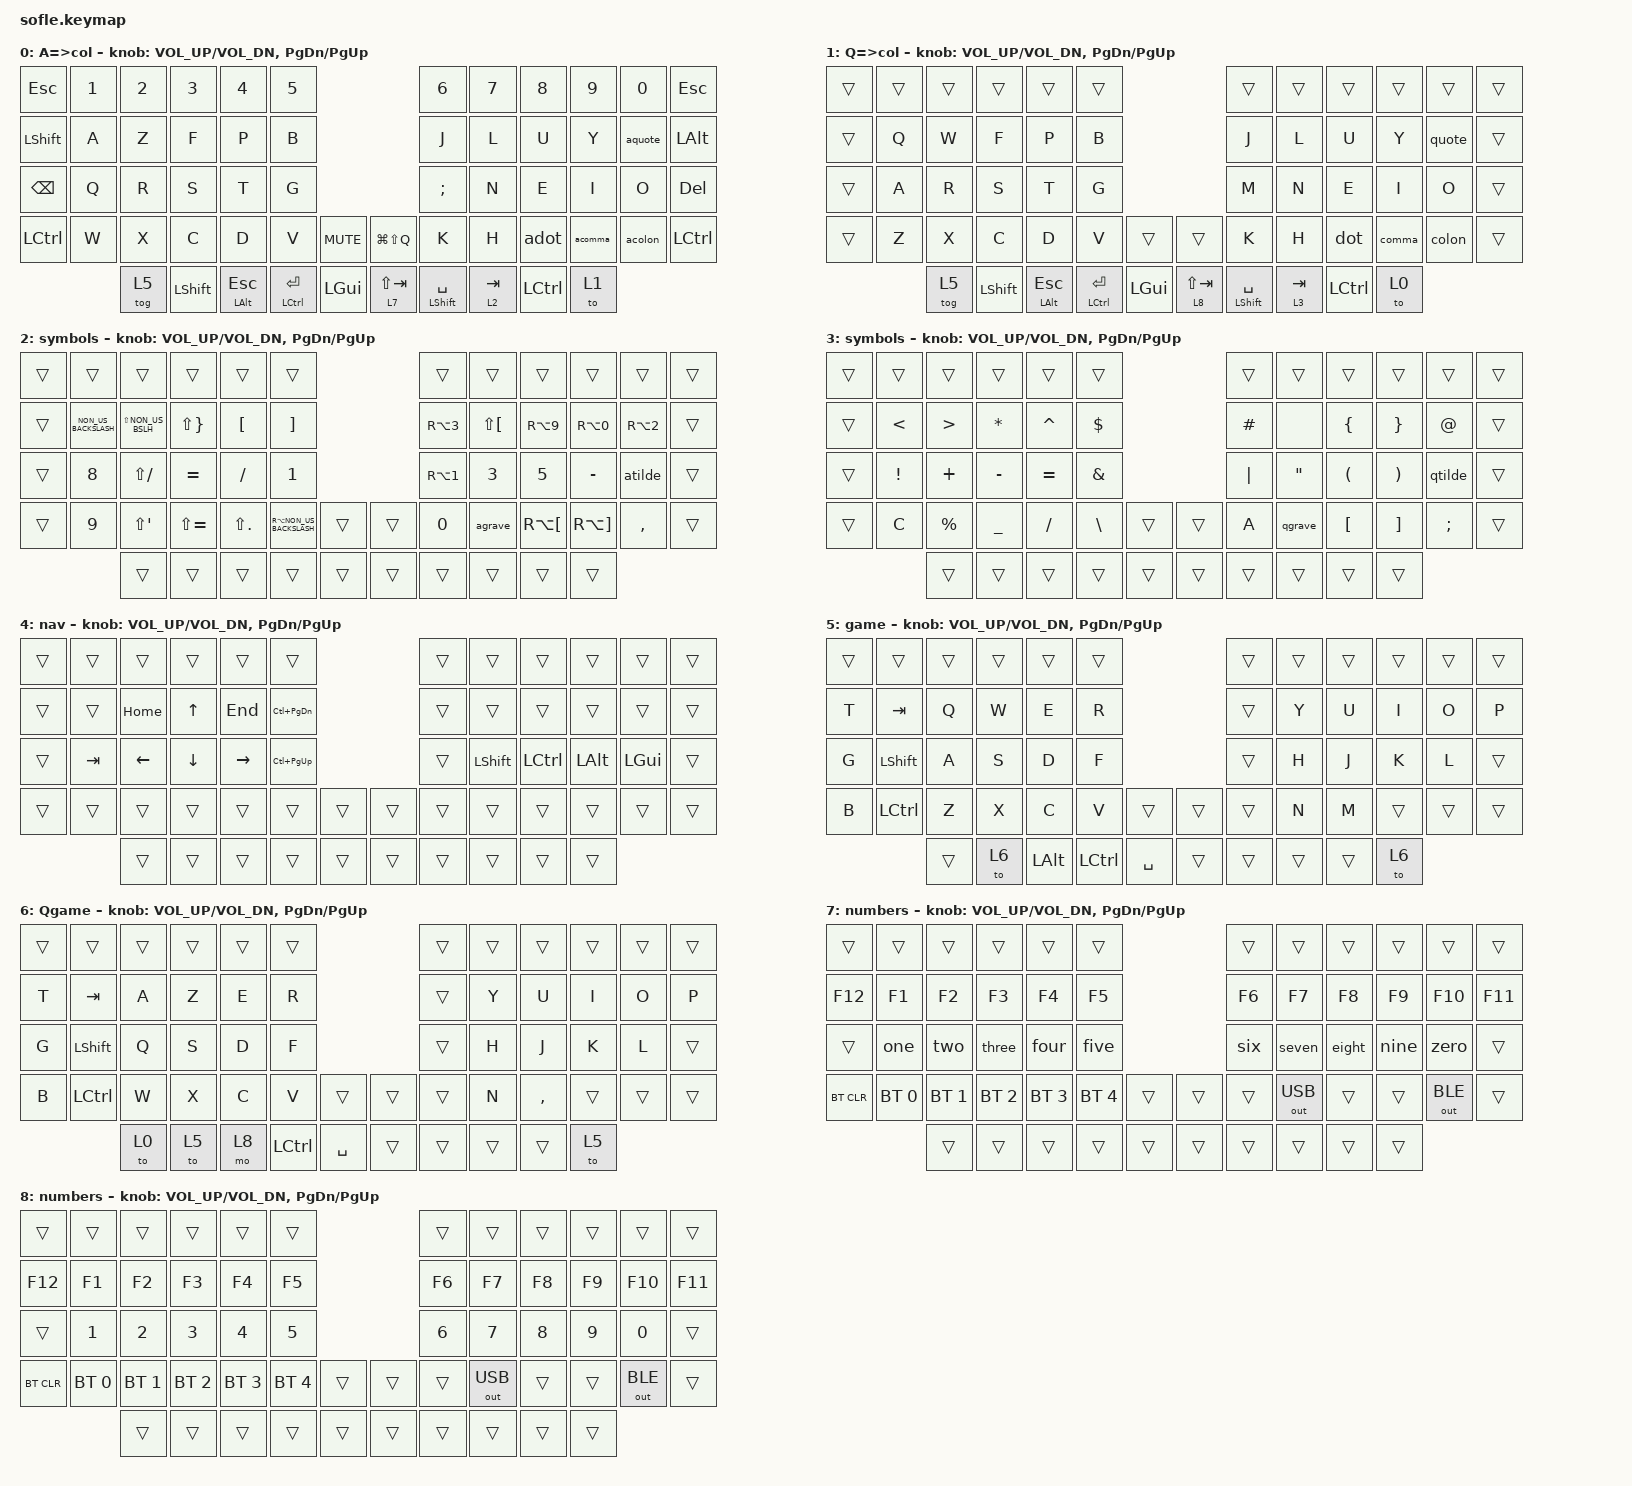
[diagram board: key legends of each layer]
/*
 * Copyright (c) 2020 The ZMK Contributors
 *
 * SPDX-License-Identifier: MIT
 */

#include <behaviors.dtsi>
#include <dt-bindings/zmk/bt.h>
#include <dt-bindings/zmk/keys.h>
#include <dt-bindings/zmk/outputs.h>

#define BASE 0
#define LOWER 1
#define RAISE 2
#define GAMING 3

&mt { tapping-term-ms = <200>; };

/ {
    // add 2ns nkp (non-overlap key press)

    behaviors {
        nkp2: non_overlap_key_press_2 {
            compatible = "zmk,behavior-non-overlap";
            #binding-cells = <1>;
            bindings = <&kp>;
        };

        lt2: layer_tap_2 {
            compatible = "zmk,behavior-hold-tap";
            #binding-cells = <2>;
            flavor = "hold-preferred";
            tapping-term-ms = <200>;
            bindings = <&mo>, <&kp>;
        };

        adot: adot {
            compatible = "zmk,behavior-mod-morph";
            #binding-cells = <0>;
            bindings = <&kp LESS_THAN>, <&kp LS(M)>;

            mods = <(MOD_LSFT|MOD_RSFT)>;
        };

        acomma: acomma {
            compatible = "zmk,behavior-mod-morph";
            #binding-cells = <0>;
            bindings = <&kp M>, <&kp N7>;

            mods = <(MOD_LSFT|MOD_RSFT)>;
        };

        acolon: acolon {
            compatible = "zmk,behavior-mod-morph";
            #binding-cells = <0>;
            bindings = <&kp DOT>, <&kp COMMA>;

            mods = <(MOD_LSFT|MOD_RSFT)>;
        };

        aquote: aquote {
            compatible = "zmk,behavior-mod-morph";
            #binding-cells = <0>;
            bindings = <&kp N4>, <&kp N2>;

            mods = <(MOD_LSFT|MOD_RSFT)>;
        };

        dot: dot {
            compatible = "zmk,behavior-mod-morph";
            #binding-cells = <0>;
            bindings = <&kp DOT>, <&kp QUESTION>;

            mods = <(MOD_LSFT|MOD_RSFT)>;
        };

        comma: comma {
            compatible = "zmk,behavior-mod-morph";
            #binding-cells = <0>;
            bindings = <&kp COMMA>, <&kp E>;

            mods = <(MOD_LSFT|MOD_RSFT)>;
        };

        colon: colon {
            compatible = "zmk,behavior-mod-morph";
            #binding-cells = <0>;
            bindings = <&kp COLON>, <&kp SEMICOLON>;

            mods = <(MOD_LSFT|MOD_RSFT)>;
        };

        quote: quote {
            compatible = "zmk,behavior-mod-morph";
            #binding-cells = <0>;
            bindings = <&kp SINGLE_QUOTE>, <&kp RA(E)>;

            mods = <(MOD_LSFT|MOD_RSFT)>;
        };

        one: one {
            compatible = "zmk,behavior-mod-morph";
            #binding-cells = <0>;
            bindings = <&kp LS(NUMBER_1)>, <&kp NUMBER_1>;

            keep-mods = <(MOD_LGUI|MOD_LSFT|MOD_RGUI|MOD_RSFT|MOD_LCTL|MOD_RCTL|MOD_LALT|MOD_RALT)>;
            mods = <(MOD_LGUI|MOD_LSFT|MOD_RGUI|MOD_RSFT|MOD_LCTL|MOD_RCTL|MOD_LALT|MOD_RALT)>;
        };

        two: two {
            compatible = "zmk,behavior-mod-morph";
            #binding-cells = <0>;
            bindings = <&kp LS(NUMBER_2)>, <&kp NUMBER_2>;

            keep-mods = <(MOD_LGUI|MOD_LSFT|MOD_RGUI|MOD_RSFT|MOD_LCTL|MOD_RCTL|MOD_LALT|MOD_RALT)>;
            mods = <(MOD_LGUI|MOD_LSFT|MOD_RGUI|MOD_RSFT|MOD_LCTL|MOD_RCTL|MOD_LALT|MOD_RALT)>;
        };

        three: three {
            compatible = "zmk,behavior-mod-morph";
            #binding-cells = <0>;
            bindings = <&kp LS(NUMBER_3)>, <&kp NUMBER_3>;

            keep-mods = <(MOD_LGUI|MOD_LSFT|MOD_RGUI|MOD_RSFT|MOD_LCTL|MOD_RCTL|MOD_LALT|MOD_RALT)>;
            mods = <(MOD_LGUI|MOD_LSFT|MOD_RGUI|MOD_RSFT|MOD_LCTL|MOD_RCTL|MOD_LALT|MOD_RALT)>;
        };

        four: four {
            compatible = "zmk,behavior-mod-morph";
            #binding-cells = <0>;
            bindings = <&kp LS(NUMBER_4)>, <&kp NUMBER_4>;

            keep-mods = <(MOD_LGUI|MOD_LSFT|MOD_RGUI|MOD_RSFT|MOD_LCTL|MOD_RCTL|MOD_LALT|MOD_RALT)>;
            mods = <(MOD_LGUI|MOD_LSFT|MOD_RGUI|MOD_RSFT|MOD_LCTL|MOD_RCTL|MOD_LALT|MOD_RALT)>;
        };

        five: five {
            compatible = "zmk,behavior-mod-morph";
            #binding-cells = <0>;
            bindings = <&kp LS(NUMBER_5)>, <&kp NUMBER_5>;

            keep-mods = <(MOD_LGUI|MOD_LSFT|MOD_RGUI|MOD_RSFT|MOD_LCTL|MOD_RCTL|MOD_LALT|MOD_RALT)>;
            mods = <(MOD_LGUI|MOD_LSFT|MOD_RGUI|MOD_RSFT|MOD_LCTL|MOD_RCTL|MOD_LALT|MOD_RALT)>;
        };

        six: six {
            compatible = "zmk,behavior-mod-morph";
            #binding-cells = <0>;
            bindings = <&kp LS(NUMBER_6)>, <&kp NUMBER_6>;

            keep-mods = <(MOD_LGUI|MOD_LSFT|MOD_RGUI|MOD_RSFT|MOD_LCTL|MOD_RCTL|MOD_LALT|MOD_RALT)>;
            mods = <(MOD_LGUI|MOD_LSFT|MOD_RGUI|MOD_RSFT|MOD_LCTL|MOD_RCTL|MOD_LALT|MOD_RALT)>;
        };

        seven: seven {
            compatible = "zmk,behavior-mod-morph";
            #binding-cells = <0>;
            bindings = <&kp LS(NUMBER_7)>, <&kp NUMBER_7>;

            keep-mods = <(MOD_LGUI|MOD_LSFT|MOD_RGUI|MOD_RSFT|MOD_LCTL|MOD_RCTL|MOD_LALT|MOD_RALT)>;
            mods = <(MOD_LGUI|MOD_LSFT|MOD_RGUI|MOD_RSFT|MOD_LCTL|MOD_RCTL|MOD_LALT|MOD_RALT)>;
        };

        eight: eight {
            compatible = "zmk,behavior-mod-morph";
            #binding-cells = <0>;
            bindings = <&kp LS(NUMBER_8)>, <&kp NUMBER_8>;

            keep-mods = <(MOD_LGUI|MOD_LSFT|MOD_RGUI|MOD_RSFT|MOD_LCTL|MOD_RCTL|MOD_LALT|MOD_RALT)>;
            mods = <(MOD_LGUI|MOD_LSFT|MOD_RGUI|MOD_RSFT|MOD_LCTL|MOD_RCTL|MOD_LALT|MOD_RALT)>;
        };

        nine: nine {
            compatible = "zmk,behavior-mod-morph";
            #binding-cells = <0>;
            bindings = <&kp LS(NUMBER_9)>, <&kp NUMBER_9>;

            keep-mods = <(MOD_LGUI|MOD_LSFT|MOD_RGUI|MOD_RSFT|MOD_LCTL|MOD_RCTL|MOD_LALT|MOD_RALT)>;
            mods = <(MOD_LGUI|MOD_LSFT|MOD_RGUI|MOD_RSFT|MOD_LCTL|MOD_RCTL|MOD_LALT|MOD_RALT)>;
        };

        zero: zero {
            compatible = "zmk,behavior-mod-morph";
            #binding-cells = <0>;
            bindings = <&kp LS(NUMBER_0)>, <&kp NUMBER_0>;

            keep-mods = <(MOD_LGUI|MOD_LSFT|MOD_RGUI|MOD_RSFT|MOD_LCTL|MOD_RCTL|MOD_LALT|MOD_RALT)>;
            mods = <(MOD_LGUI|MOD_LSFT|MOD_RGUI|MOD_RSFT|MOD_LCTL|MOD_RCTL|MOD_LALT|MOD_RALT)>;
        };
    };

    conditional_layers { compatible = "zmk,conditional-layers"; };

    combos {
        compatible = "zmk,combos";

        nav {
            timeout-ms = <100>;
            bindings = <&mo 4>;
            key-positions = <56 53>;
        };

        reset {
            bindings = <&to 0>;
            key-positions = <42 43>;
            timeout-ms = <300>;
        };
    };

    macros {
        qwertyegrave: qwertyegrave {
            compatible = "zmk,behavior-macro";
            #binding-cells = <0>;
            bindings = <&kp GRAVE &kp E>;
            label = "QWERTYEGRAVE";
        };

        directory_back: directory_back {
            compatible = "zmk,behavior-macro";
            #binding-cells = <0>;
            bindings = <&kp DOT &kp DOT &kp FSLH>;
            label = "DIRECTORY_BACK";
        };

        adirectory_back: adirectory_back {
            compatible = "zmk,behavior-macro";
            #binding-cells = <0>;
            bindings = <&kp LT &kp LT &kp LS(DOT)>;
            label = "ADIRECTORY_BACK";
        };

        atilde: atilde {
            compatible = "zmk,behavior-macro";
            #binding-cells = <0>;
            bindings = <&kp RA(SLASH) &kp SPACE>;
            label = "ATILDE";
        };

        agrave: agrave {
            compatible = "zmk,behavior-macro";
            #binding-cells = <0>;
            bindings = <&kp RA(BACKSLASH) &kp SPACE>;
            label = "AGRAVE";
        };

        qwertyc: qwertyc {
            compatible = "zmk,behavior-macro";
            #binding-cells = <0>;
            bindings = <&kp RA(COMMA) &kp C>;
            label = "QWERTYC";
        };

        qwertya: qwertya {
            compatible = "zmk,behavior-macro";
            #binding-cells = <0>;
            bindings = <&kp GRAVE &kp A>;
            label = "QWERTYA";
        };

        qtilde: qtilde {
            compatible = "zmk,behavior-macro";
            #binding-cells = <0>;
            bindings = <&kp TILDE &kp SPACE>;
            label = "QTILDE";
        };

        qgrave: qgrave {
            compatible = "zmk,behavior-macro";
            #binding-cells = <0>;
            bindings = <&kp GRAVE &kp SPACE>;
            label = "QGRAVE";
        };
    };

    keymap {
        compatible = "zmk,keymap";

        azerty_colemak {
            display-name = "A=>col";
            bindings = <
&kp ESCAPE      &kp NUMBER_1  &kp N2  &kp N3          &kp N4           &kp N5                                        &kp N6                &kp N7     &kp N8     &kp N9   &kp N0   &kp ESCAPE
&kp LEFT_SHIFT  &kp A         &kp Z   &kp F           &kp P            &kp B                                         &kp J                 &kp L      &kp U      &kp Y    &aquote  &kp LEFT_ALT
&kp BACKSPACE   &kp Q         &kp R   &kp S           &kp T            &kp G                                         &kp SEMICOLON         &kp N      &kp E      &kp I    &kp O    &kp DELETE
&kp LCTRL       &kp W         &kp X   &kp C           &kp D            &kp V            &kp C_MUTE    &kp LG(LS(Q))  &kp K                 &kp H      &adot      &acomma  &acolon  &kp LCTRL
                              &tog 5  &kp LEFT_SHIFT  &mt LALT ESCAPE  &mt LCTRL ENTER  &kp LGUI      &lt 7 LS(TAB)  &mt LEFT_SHIFT SPACE  &lt 2 TAB  &kp LCTRL  &to 1
            >;

            sensor-bindings =
                <&inc_dec_kp C_VOL_UP C_VOL_DN>,
                <&inc_dec_kp PG_DN PG_UP>;
        };

        qwerty_colemak {
            display-name = "Q=>col";
            bindings = <
&trans  &trans  &trans  &trans          &trans           &trans                                      &trans                &trans     &trans     &trans  &trans  &trans
&trans  &kp Q   &kp W   &kp F           &kp P            &kp B                                       &kp J                 &kp L      &kp U      &kp Y   &quote  &trans
&trans  &kp A   &kp R   &kp S           &kp T            &kp G                                       &kp M                 &kp N      &kp E      &kp I   &kp O   &trans
&trans  &kp Z   &kp X   &kp C           &kp D            &kp V            &trans      &trans         &kp K                 &kp H      &dot       &comma  &colon  &trans
                &tog 5  &kp LEFT_SHIFT  &mt LALT ESCAPE  &mt LCTRL ENTER  &kp LGUI    &lt 8 LS(TAB)  &mt LEFT_SHIFT SPACE  &lt 3 TAB  &kp LCTRL  &to 0
            >;

            sensor-bindings =
                <&inc_dec_kp C_VOL_UP C_VOL_DN>,
                <&inc_dec_kp PG_DN PG_UP>;
        };

        Asymbols {
            display-name = "symbols";
            bindings = <
&trans  &trans                &trans               &trans               &trans            &trans                                      &trans            &trans        &trans                &trans                 &trans            &trans
&trans  &kp NON_US_BACKSLASH  &kp LS(NON_US_BSLH)  &kp LS(RIGHT_BRACE)  &kp LEFT_BRACKET  &kp RIGHT_BRACKET                           &kp RA(N3)        &kp LS(LBKT)  &kp RA(NUMBER_9)      &kp RA(NUMBER_0)       &kp RA(NUMBER_2)  &trans
&trans  &kp NUMBER_8          &kp LS(SLASH)        &kp EQUAL            &kp SLASH         &kp NUMBER_1                                &kp RA(NUMBER_1)  &kp NUMBER_3  &kp N5                &kp MINUS              &atilde           &trans
&trans  &kp NUMBER_9          &kp LS(APOSTROPHE)   &kp LS(EQUAL)        &kp LS(DOT)       &kp RA(NON_US_BACKSLASH)  &trans    &trans  &kp N0            &agrave       &kp RA(LEFT_BRACKET)  &kp RA(RIGHT_BRACKET)  &kp COMMA         &trans
                              &trans               &trans               &trans            &trans                    &trans    &trans  &trans            &trans        &trans                &trans
            >;

            sensor-bindings =
                <&inc_dec_kp C_VOL_UP C_VOL_DN>,
                <&inc_dec_kp PG_DN PG_UP>;
        };

        Qsymbols {
            display-name = "symbols";
            bindings = <
&trans  &trans           &trans            &trans          &trans     &trans                           &trans    &trans             &trans                &trans                 &trans       &trans
&trans  &kp LESS_THAN    &kp GREATER_THAN  &kp ASTERISK    &kp CARET  &kp DOLLAR                       &kp HASH  &none              &kp LEFT_BRACE        &kp RIGHT_BRACE        &kp AT_SIGN  &trans
&trans  &kp EXCLAMATION  &kp PLUS          &kp MINUS       &kp EQUAL  &kp AMPS                         &kp PIPE  &kp DOUBLE_QUOTES  &kp LEFT_PARENTHESIS  &kp RIGHT_PARENTHESIS  &qtilde      &trans
&trans  &kp C            &kp PERCENT       &kp UNDERSCORE  &kp SLASH  &kp BACKSLASH  &trans    &trans  &kp A     &qgrave            &kp LEFT_BRACKET      &kp RIGHT_BRACKET      &kp SEMI     &trans
                         &trans            &trans          &trans     &trans         &trans    &trans  &trans    &trans             &trans                &trans
            >;

            sensor-bindings =
                <&inc_dec_kp C_VOL_UP C_VOL_DN>,
                <&inc_dec_kp PG_DN PG_UP>;
        };

        navigation {
            display-name = "nav";
            bindings = <
&trans  &trans   &trans          &trans          &trans           &trans                           &trans  &trans          &trans     &trans    &trans    &trans
&trans  &trans   &kp HOME        &kp UP_ARROW    &kp END          &kp LC(PG_DN)                    &trans  &trans          &trans     &trans    &trans    &trans
&trans  &kp TAB  &kp LEFT_ARROW  &kp DOWN_ARROW  &kp RIGHT_ARROW  &kp LC(PG_UP)                    &trans  &kp LEFT_SHIFT  &kp LCTRL  &kp LALT  &kp LGUI  &trans
&trans  &trans   &trans          &trans          &trans           &trans         &trans    &trans  &trans  &trans          &trans     &trans    &trans    &trans
                 &trans          &trans          &trans           &trans         &trans    &trans  &trans  &trans          &trans     &trans
            >;

            sensor-bindings =
                <&inc_dec_kp C_VOL_UP C_VOL_DN>,
                <&inc_dec_kp PG_DN PG_UP>;
        };

        gaming {
            display-name = "game";
            bindings = <
&trans  &trans          &trans  &trans  &trans    &trans                          &trans  &trans  &trans  &trans  &trans  &trans
&kp T   &kp TAB         &kp Q   &kp W   &kp E     &kp R                           &trans  &kp Y   &kp U   &kp I   &kp O   &kp P
&kp G   &kp LEFT_SHIFT  &kp A   &kp S   &kp D     &kp F                           &trans  &kp H   &kp J   &kp K   &kp L   &trans
&kp B   &kp LCTRL       &kp Z   &kp X   &kp C     &kp V      &trans       &trans  &trans  &kp N   &kp M   &trans  &trans  &trans
                        &trans  &to 6   &kp LALT  &kp LCTRL  &kp SPACE    &trans  &trans  &trans  &trans  &to 6
            >;

            sensor-bindings =
                <&inc_dec_kp C_VOL_UP C_VOL_DN>,
                <&inc_dec_kp PG_DN PG_UP>;
        };

        gaming_qwerty {
            display-name = "Qgame";
            bindings = <
&trans  &trans          &trans  &trans  &trans  &trans                          &trans  &trans  &trans     &trans  &trans  &trans
&kp T   &kp TAB         &kp A   &kp Z   &kp E   &kp R                           &trans  &kp Y   &kp U      &kp I   &kp O   &kp P
&kp G   &kp LEFT_SHIFT  &kp Q   &kp S   &kp D   &kp F                           &trans  &kp H   &kp J      &kp K   &kp L   &trans
&kp B   &kp LCTRL       &kp W   &kp X   &kp C   &kp V      &trans       &trans  &trans  &kp N   &kp COMMA  &trans  &trans  &trans
                        &to 0   &to 5   &mo 8   &kp LCTRL  &kp SPACE    &trans  &trans  &trans  &trans     &to 5
            >;

            sensor-bindings =
                <&inc_dec_kp C_VOL_UP C_VOL_DN>,
                <&inc_dec_kp PG_DN PG_UP>;

            label = "gaming";
        };

        Anumber_fn {
            display-name = "numbers";
            bindings = <
&trans      &trans        &trans        &trans        &trans        &trans                          &trans  &trans        &trans  &trans  &trans        &trans
&kp F12     &kp F1        &kp F2        &kp F3        &kp F4        &kp F5                          &kp F6  &kp F7        &kp F8  &kp F9  &kp F10       &kp F11
&trans      &one          &two          &three        &four         &five                           &six    &seven        &eight  &nine   &zero         &trans
&bt BT_CLR  &bt BT_SEL 0  &bt BT_SEL 1  &bt BT_SEL 2  &bt BT_SEL 3  &bt BT_SEL 4  &trans    &trans  &trans  &out OUT_USB  &trans  &trans  &out OUT_BLE  &trans
                          &trans        &trans        &trans        &trans        &trans    &trans  &trans  &trans        &trans  &trans
            >;

            sensor-bindings =
                <&inc_dec_kp C_VOL_UP C_VOL_DN>,
                <&inc_dec_kp PG_DN PG_UP>;
        };

        Qnumbers_fn {
            display-name = "numbers";
            bindings = <
&trans      &trans        &trans        &trans        &trans        &trans                          &trans  &trans        &trans  &trans  &trans        &trans
&kp F12     &kp F1        &kp F2        &kp F3        &kp F4        &kp F5                          &kp F6  &kp F7        &kp F8  &kp F9  &kp F10       &kp F11
&trans      &kp NUMBER_1  &kp N2        &kp N3        &kp N4        &kp N5                          &kp N6  &kp N7        &kp N8  &kp N9  &kp N0        &trans
&bt BT_CLR  &bt BT_SEL 0  &bt BT_SEL 1  &bt BT_SEL 2  &bt BT_SEL 3  &bt BT_SEL 4  &trans    &trans  &trans  &out OUT_USB  &trans  &trans  &out OUT_BLE  &trans
                          &trans        &trans        &trans        &trans        &trans    &trans  &trans  &trans        &trans  &trans
            >;

            sensor-bindings =
                <&inc_dec_kp C_VOL_UP C_VOL_DN>,
                <&inc_dec_kp PG_DN PG_UP>;
        };
    };
};
